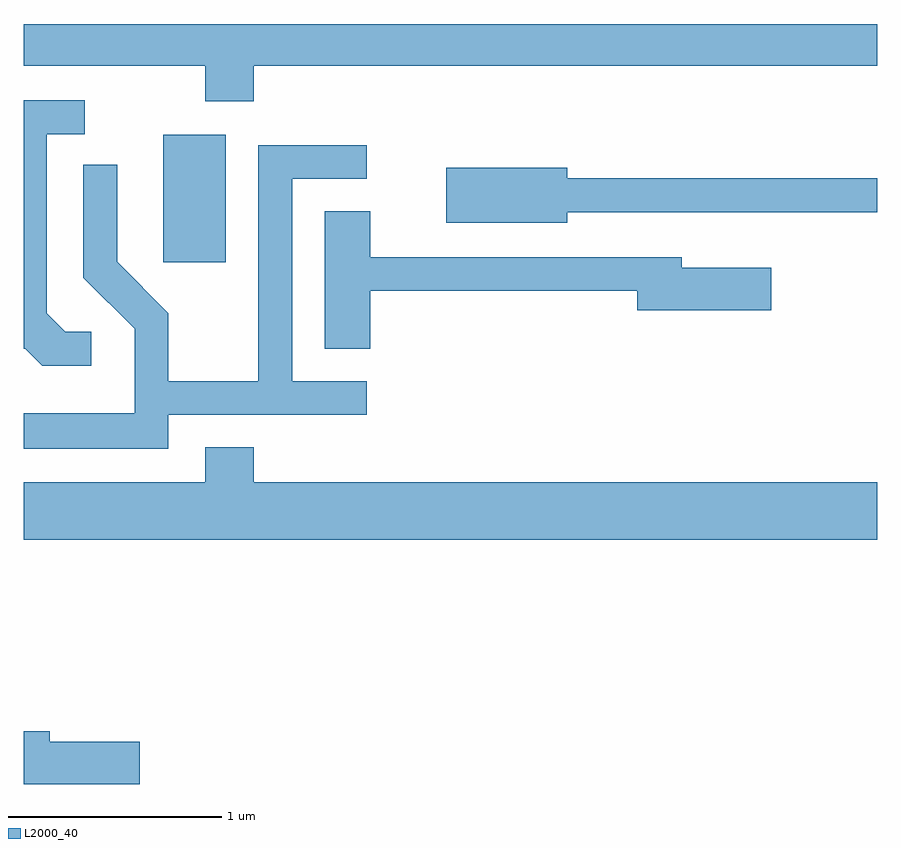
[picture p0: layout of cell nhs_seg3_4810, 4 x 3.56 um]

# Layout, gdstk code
import gdstk
lib = gdstk.Library(unit=1e-6, precision=1e-09)
def R(c, l, rs):  # rectangles x0, y0, x1, y1
    for r in rs: c.add(gdstk.rectangle(r[:2], r[2:], *l))
def P(c, l, *ps):  # polygons
    for p in ps: c.add(gdstk.Polygon(p, *l))
L2000_40 = (2000, 40)

nhs_seg3_4810 = lib.new_cell('nhs_seg3_4810')
R(nhs_seg3_4810, L2000_40, [(326.266,1222.776,326.559,1223.374)])
P(nhs_seg3_4810, L2000_40, [(325.611,1223.696),(326.461,1223.696),(326.461,1223.531),(326.689,1223.531),(326.689,1223.696),(329.611,1223.696),(329.611,1223.892),(325.611,1223.892)],
  [(325.928,1222.449),(325.807,1222.449),(325.719,1222.537),(325.719,1223.376),(325.898,1223.376),(325.898,1223.534),(325.611,1223.534),(325.611,1222.371),(325.619,1222.371),(325.699,1222.291),(325.928,1222.291)],
  [(326.289,1222.061),(327.218,1222.061),(327.218,1222.219),(326.869,1222.219),(326.869,1223.166),(327.218,1223.166),(327.218,1223.324),(326.711,1223.324),(326.711,1222.219),(326.289,1222.219),(326.289,1222.537),(326.049,1222.777),(326.049,1223.233),(325.891,1223.233),(325.891,1222.704),(326.131,1222.464),(326.131,1222.069),(325.611,1222.069),(325.611,1221.901),(326.289,1221.901)],
  [(328.159,1223.011),(329.611,1223.011),(329.611,1223.169),(328.159,1223.169),(328.159,1223.219),(327.591,1223.219),(327.591,1222.961),(328.159,1222.961)],
  [(327.234,1222.641),(328.486,1222.641),(328.486,1222.551),(329.114,1222.551),(329.114,1222.749),(328.694,1222.749),(328.694,1222.799),(327.234,1222.799),(327.234,1223.014),(327.021,1223.014),(327.021,1222.371),(327.234,1222.371)],
  [(329.611,1221.744),(326.689,1221.744),(326.689,1221.909),(326.461,1221.909),(326.461,1221.744),(325.611,1221.744),(325.611,1221.476),(329.611,1221.476)],
  [(326.154,1220.529),(325.734,1220.529),(325.734,1220.579),(325.611,1220.579),(325.611,1220.331),(326.154,1220.331)])

lib.write_gds('nhs_seg3_4810.gds')
